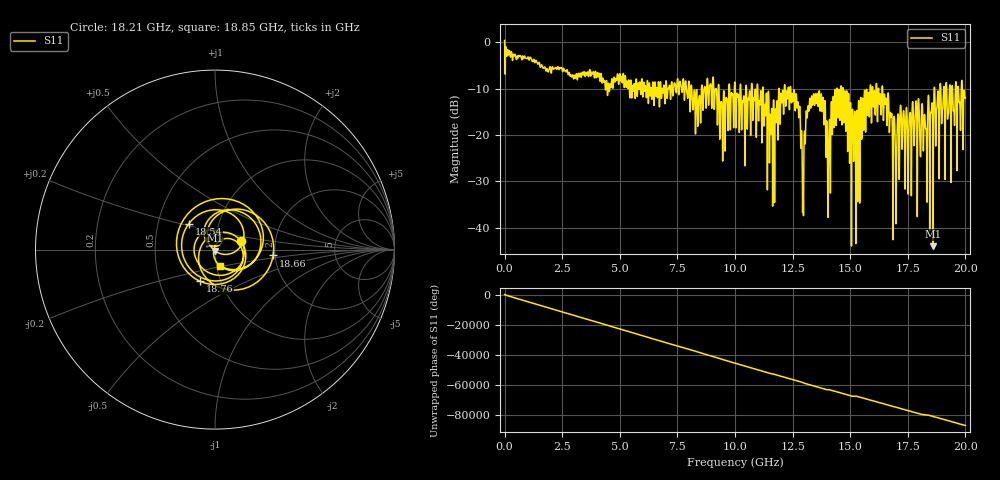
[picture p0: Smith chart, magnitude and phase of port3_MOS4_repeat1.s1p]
! MS46122B
! 2250307/22442219
! 7/28/2025 8:07:38 AM
! C:\USERS\SPARKY\DOCUMENTS\VNA_DATA\JULY28_2025\295K\PORT3_MOS4_REPEAT1.S1P
! CHANNEL.1
! TR.MEASUREMENT
! RAW.DATA
# GHZ S RI R 50.0
! FREQ.GHZ  S11RE  S11IM
!; PortSelection: Port_1
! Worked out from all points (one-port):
!   10001 points, 1 MHz to 20 GHz, reference 50 ohm
!   lowest |S11| = -44.0 dB at 18.6 GHz (marker M1), VSWR 1.01, Z = 49.8 - j0.605 ohm
!   |S11| at or under -10 dB: 12.42 GHz to 14.43 GHz (2.009 GHz wide, 15 % of centre); 14.69 GHz to 15.87 GHz (1.175 GHz wide, 7.69 % of centre); 16.41 GHz to 18.65 GHz (2.238 GHz wide, 12.8 % of centre) (the widest 3 of 70)
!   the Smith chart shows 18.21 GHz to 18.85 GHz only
!   S11 on the Smith chart (normalised r, x): 18.21 GHz: 1.33, +0.13; 18.54 GHz: 0.72, +0.22; 18.66 GHz: 1.95, -0.14; 18.76 GHz: 0.80, -0.29; 18.85 GHz: 1.04, -0.19
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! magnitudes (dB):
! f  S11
! 1 MHz  0.4
! 2.501 GHz  -6.0
! 5.001 GHz  -6.8
! 7.501 GHz  -8.0
! 10 GHz  -8.7
! 11.64 GHz  -24.0
! 12.5 GHz  -11.4
! 12.74 GHz  -13.1
! 12.95 GHz  -30.7
! 13.17 GHz  -13.8
! 13.41 GHz  -11.1
! 13.82 GHz  -11.9
! 14.05 GHz  -28.4
! 14.43 GHz  -10.0
! 15 GHz  -14.2
! 15.33 GHz  -32.3
! 16.06 GHz  -10.6
! 16.58 GHz  -13.5
! 16.93 GHz  -17.5
! 17.25 GHz  -23.1
! 17.5 GHz  -27.7
! 18.21 GHz  -16.4
! 18.54 GHz  -13.7
! 18.6 GHz  -44.0
! 18.66 GHz  -9.7
! 18.76 GHz  -14.2
! 18.85 GHz  -20.5
! 20 GHz  -12.0
